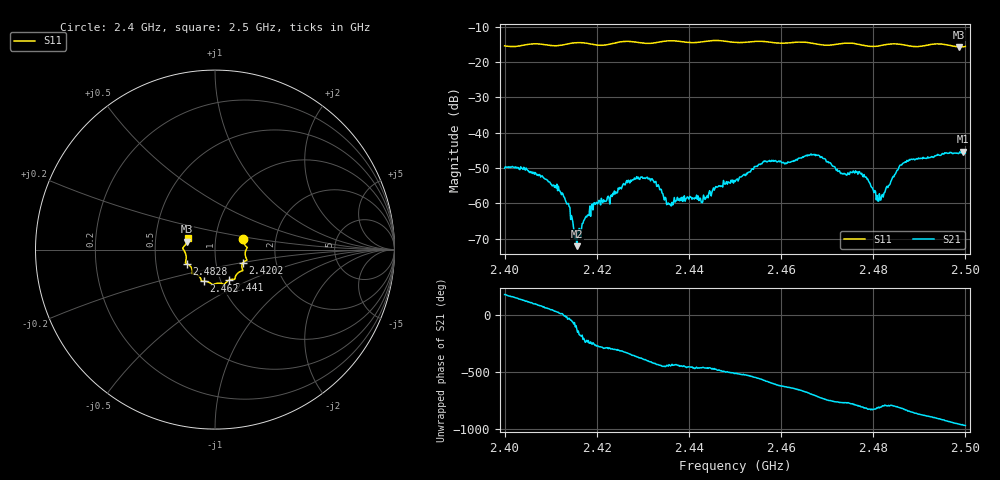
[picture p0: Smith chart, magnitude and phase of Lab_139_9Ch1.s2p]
# Hz S RI R 50
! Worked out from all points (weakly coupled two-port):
!   601 points, 2.4 GHz to 2.5 GHz, reference 50 ohm
!   highest |S21| = -45.42 dB at 2.4995 GHz (marker M1); lowest = -72.1 dB at 2.4157 GHz (marker M2)
!   lowest |S11| = -15.8 dB at 2.4987 GHz (marker M3), VSWR 1.39, Z = 36.3 + j3.25 ohm
!   |S11| at or under -10 dB: start of sweep to end of sweep
!   S12 and S22 are empty: the file has one direction only
!   S11 on the Smith chart (normalised r, x): 2.4 GHz: 1.36, +0.17; 2.4202 GHz: 1.35, -0.20; 2.441 GHz: 1.10, -0.39; 2.462 GHz: 0.83, -0.30; 2.4828 GHz: 0.72, -0.12; 2.5 GHz: 0.73, +0.09
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2.4e9  0.1571 0.0606  -0.00313 2.74e-05  0 0  0 0
2.4115e9  0.1678 -0.0242  0.00138 0.000619  0 0  0 0
2.413667e9  0.173 -0.0468  0.000784 -0.000608  0 0  0 0
2.415667e9  0.1781 -0.0576  -0.000137 -0.000207  0 0  0 0
2.416667e9  0.1775 -0.0592  -0.000425 5.84e-05  0 0  0 0
2.420167e9  0.1569 -0.0721  2.22e-05 0.000981  0 0  0 0
2.4285e9  0.1484 -0.1191  0.00221 -0.000164  0 0  0 0
2.433333e9  0.1128 -0.1522  0.000404 -0.00179  0 0  0 0
2.435667e9  0.1104 -0.1652  0.000212 -0.00095  0 0  0 0
2.441e9  0.0772 -0.1705  -0.000274 -0.00115  0 0  0 0
2.45e9  0.0271 -0.1868  -0.00183 -0.000883  0 0  0 0
2.4565e9  -0.0167 -0.1931  -0.00308 0.0024  0 0  0 0
2.462e9  -0.0613 -0.1761  0.00068 0.00375  0 0  0 0
2.466667e9  -0.0775 -0.1673  0.00452 0.00169  0 0  0 0
2.4775e9  -0.1262 -0.1193  2.15e-05 -0.00267  0 0  0 0
2.481167e9  -0.1451 -0.0849  -1.88e-05 -0.00108  0 0  0 0
2.482833e9  -0.1578 -0.0778  0.000358 -0.00164  0 0  0 0
2.483333e9  -0.1606 -0.0765  0.000432 -0.00173  0 0  0 0
2.487833e9  -0.1604 -0.0508  -0.00255 -0.00331  0 0  0 0
2.498667e9  -0.1567 0.0435  -0.00246 0.00451  0 0  0 0
2.4995e9  -0.1541 0.0549  -0.00189 0.00502  0 0  0 0
2.5e9  -0.1531 0.0619  -0.00152 0.00494  0 0  0 0
